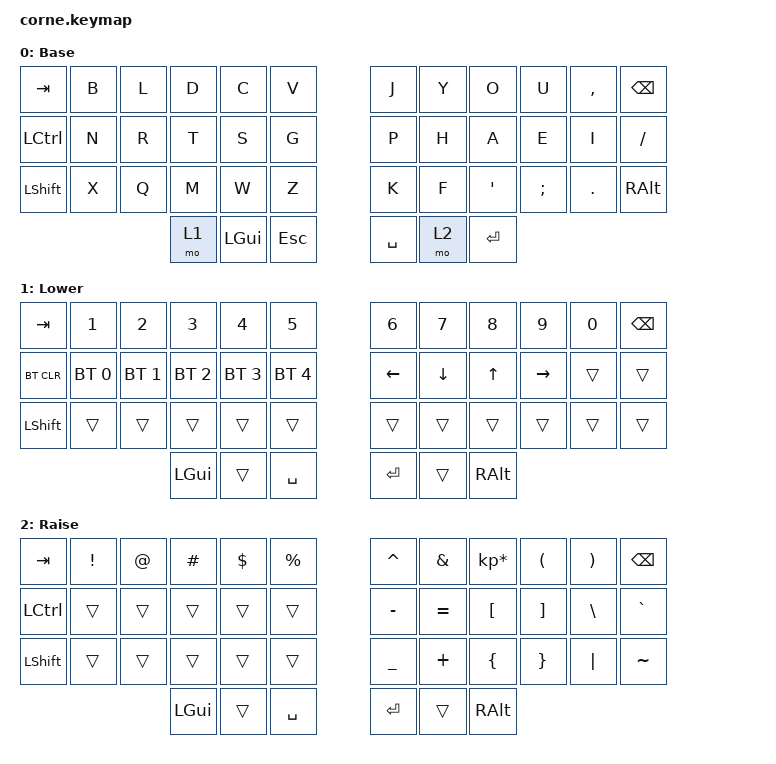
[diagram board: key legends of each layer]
/*
 * Copyright (c) 2020 The ZMK Contributors
 *
 * SPDX-License-Identifier: MIT
 */

#include <behaviors.dtsi>
#include <dt-bindings/zmk/keys.h>
#include <dt-bindings/zmk/bt.h>

/ {
        keymap {
                compatible = "zmk,keymap";

                default_layer {
// -----------------------------------------------------------------------------------------
// |  TAB |  B  |  L  |  D  |  C  |  V  |   |  J  |  Y   |  O  |  U  |  ,  | BKSP |
// | CTRL |  N  |  R  |  T  |  S  |  G  |   |  P  |  H   |  A  |  E  |  I  | /    |
// | SHFT |  X  |  Q  |  M  |  W  |  Z  |   |  K  |  F   |  '  |  ;  |  .  | ESC  |
//                    | LWR | GUI | ESC |   | SPC | RSE  | ENT |
                        display-name = "Base";
                        bindings = <
   &kp TAB   &kp B &kp L &kp D &kp C &kp V   &kp J &kp Y  &kp O     &kp U   &kp COMMA    &kp BSPC
   &kp LCTRL &kp N &kp R &kp T &kp S &kp G   &kp P &kp H  &kp A     &kp E   &kp I &kp FSLH
   &kp LSHFT &kp X &kp Q &kp M &kp W &kp Z   &kp K &kp F  &kp SQT &kp SEMI &kp DOT &kp RALT
                    &mo 1 &kp LGUI &kp ESC   &kp SPACE &mo 2 &kp RET
                        >;
                };
                lower_layer {
// -----------------------------------------------------------------------------------------
// |  TAB |  1  |  2  |  3  |  4  |  5  |   |  6  |  7  |  8  |  9  |  0  | BKSP |
// | BTCLR| BT1 | BT2 | BT3 | BT4 | BT5 |   | LFT | DWN |  UP | RGT |     |      |
// | SHFT |     |     |     |     |     |   |     |     |     |     |     |      |
//                    | GUI |     | SPC |   | ENT |     | ALT |
                        display-name = "Lower";
                        bindings = <
   &kp TAB    &kp N1       &kp N2       &kp N3       &kp N4       &kp N5         &kp N6   &kp N7   &kp N8 &kp N9    &kp N0 &kp BSPC
   &bt BT_CLR &bt BT_SEL 0 &bt BT_SEL 1 &bt BT_SEL 2 &bt BT_SEL 3 &bt BT_SEL 4   &kp LEFT &kp DOWN &kp UP &kp RIGHT &trans &trans
   &kp LSHFT  &trans       &trans       &trans       &trans       &trans         &trans   &trans   &trans &trans    &trans &trans
                          	        &kp LGUI     &trans       &kp SPACE      &kp RET  &trans   &kp RALT
                        >;
                };

                raise_layer {
// -----------------------------------------------------------------------------------------
// |  TAB |  !  |  @  |  #  |  $  |  %  |   |  ^  |  &  |  *  |  (  |  )  | BKSP |
// | CTRL |     |     |     |     |     |   |  -  |  =  |  [  |  ]  |  \  |  `   |
// | SHFT |     |     |     |     |     |   |  _  |  +  |  {  |  }  | "|" |  ~   |
//                    | GUI |     | SPC |   | ENT |     | ALT |
                        display-name = "Raise";
                        bindings = <
   &kp  TAB  &kp EXCL &kp AT &kp HASH &kp DLLR &kp PRCNT   &kp CARET &kp AMPS  &kp KP_MULTIPLY &kp LPAR &kp RPAR &kp BSPC
   &kp LCTRL &trans   &trans &trans   &trans   &trans      &kp MINUS &kp EQUAL &kp LBKT        &kp RBKT &kp BSLH &kp GRAVE
   &kp LSHFT &trans   &trans &trans   &trans   &trans      &kp UNDER &kp PLUS  &kp LBRC        &kp RBRC &kp PIPE &kp TILDE
                    	     &kp LGUI &trans   &kp SPACE   &kp RET   &trans    &kp RALT
                        >;
                };

                extra_1 {
                        status = "reserved";
                };

                extra_2 {
                        status = "reserved";
                };

                extra_3 {
                        status = "reserved";
                };
        };
};
